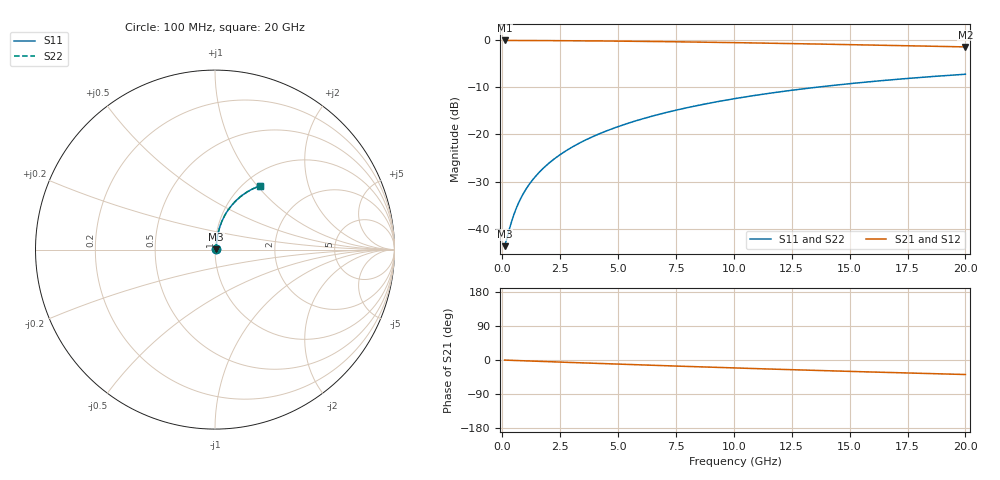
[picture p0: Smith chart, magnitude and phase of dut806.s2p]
! Touchstone file exported from HFSS 2024.1.0
!  File:  C:/UserFiles/LocalFiles/RDL_TSV_Batchsim/temp_RDL_top_806_1779853917.aedt
!  Generated:  11:54:22 AM May 27, 2026
!  Design:  RDL_top
!  Project:  temp_RDL_top_806_1779853917
!  Setup:  Setup1
!  Solution:  Sweep
! Variables:
!  dtsv = 10.80580581um
!  hbump = 3um
!  htsv = 63.52um
!  ldown = 100um
!  lrdl = 474.35um
!  p = 40
!  p1 = 47.36um
!  rhole = 1um
!  t = 450um
!  tdown = 3.915915916um
!  trdl = 2.09um
!  wdown = 15.38538539um
!  wrdl = 13.77um
# GHz S MA R 50.000000
! Terminal data exported
! Port[1] = Box2_T1
! Port[2] = Box2_T2
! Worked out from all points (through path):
!   200 points, 100 MHz to 20 GHz, reference 50 ohm
!   highest |S21| = -0.05 dB at 100 MHz (marker M1); lowest = -1.4 dB at 20 GHz (marker M2)
!   group delay of S21, straight-line fit = 5.32 ps
!   lowest |S11| = -43.7 dB at 100 MHz (marker M3), VSWR 1.01, Z = 50.6 + j0.257 ohm
!   |S11| at or under -10 dB: start of sweep to 13.54 GHz
!   |S22| runs from -43.7 to -7.2 dB; largest |S21 - S12| = 2.6e-15
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0.1  0.006528 22.9  0.994 -0.2  0.994 -0.2  0.006528 22.9
! Gamma 0 0 0 0
! Port Impedance 50 0 50 0
0.4  0.01189 57.9  0.9937 -0.9  0.9937 -0.9  0.01189 57.9
0.5  0.01412 62.7  0.9935 -1.1  0.9935 -1.1  0.01412 62.7
0.6  0.0164 66.1  0.9934 -1.4  0.9934 -1.4  0.0164 66.1
0.7  0.01872 68.6  0.9932 -1.6  0.9932 -1.6  0.01872 68.6
0.9  0.02338 72.0  0.9928 -2.0  0.9928 -2.0  0.02338 72.0
1.2  0.0304 75.0  0.9922 -2.7  0.9922 -2.7  0.0304 75.0
1.4  0.0351 76.3  0.9918 -3.1  0.9918 -3.1  0.0351 76.3
1.7  0.04216 77.6  0.9911 -3.8  0.9911 -3.8  0.04216 77.6
2.2  0.05399 78.8  0.9898 -4.9  0.9898 -4.9  0.05399 78.8
2.8  0.06828 79.4  0.9879 -6.2  0.9879 -6.2  0.06828 79.4
3.5  0.08503 79.5  0.9853 -7.7  0.9853 -7.7  0.08503 79.5
4.2  0.1018 79.1  0.9822 -9.2  0.9822 -9.2  0.1018 79.1
5  0.1211 78.4  0.9782 -10.9  0.9782 -10.9  0.1211 78.4
5.9  0.1427 77.4  0.973 -12.7  0.973 -12.7  0.1427 77.4
6.8  0.1643 76.2  0.9672 -14.6  0.9672 -14.6  0.1643 76.2
8.4  0.2022 73.8  0.9557 -17.8  0.9557 -17.8  0.2022 73.8
10.1  0.2414 71.0  0.9421 -21.1  0.9421 -21.1  0.2414 71.0
11.7  0.2771 68.3  0.9283 -24.1  0.9283 -24.1  0.2771 68.3
13.4  0.3134 65.4  0.9129 -27.2  0.9129 -27.2  0.3134 65.4
16.7  0.3783 59.9  0.8813 -33.0  0.8813 -33.0  0.3783 59.9
20  0.4355 54.7  0.849 -38.3  0.849 -38.3  0.4356 54.7
